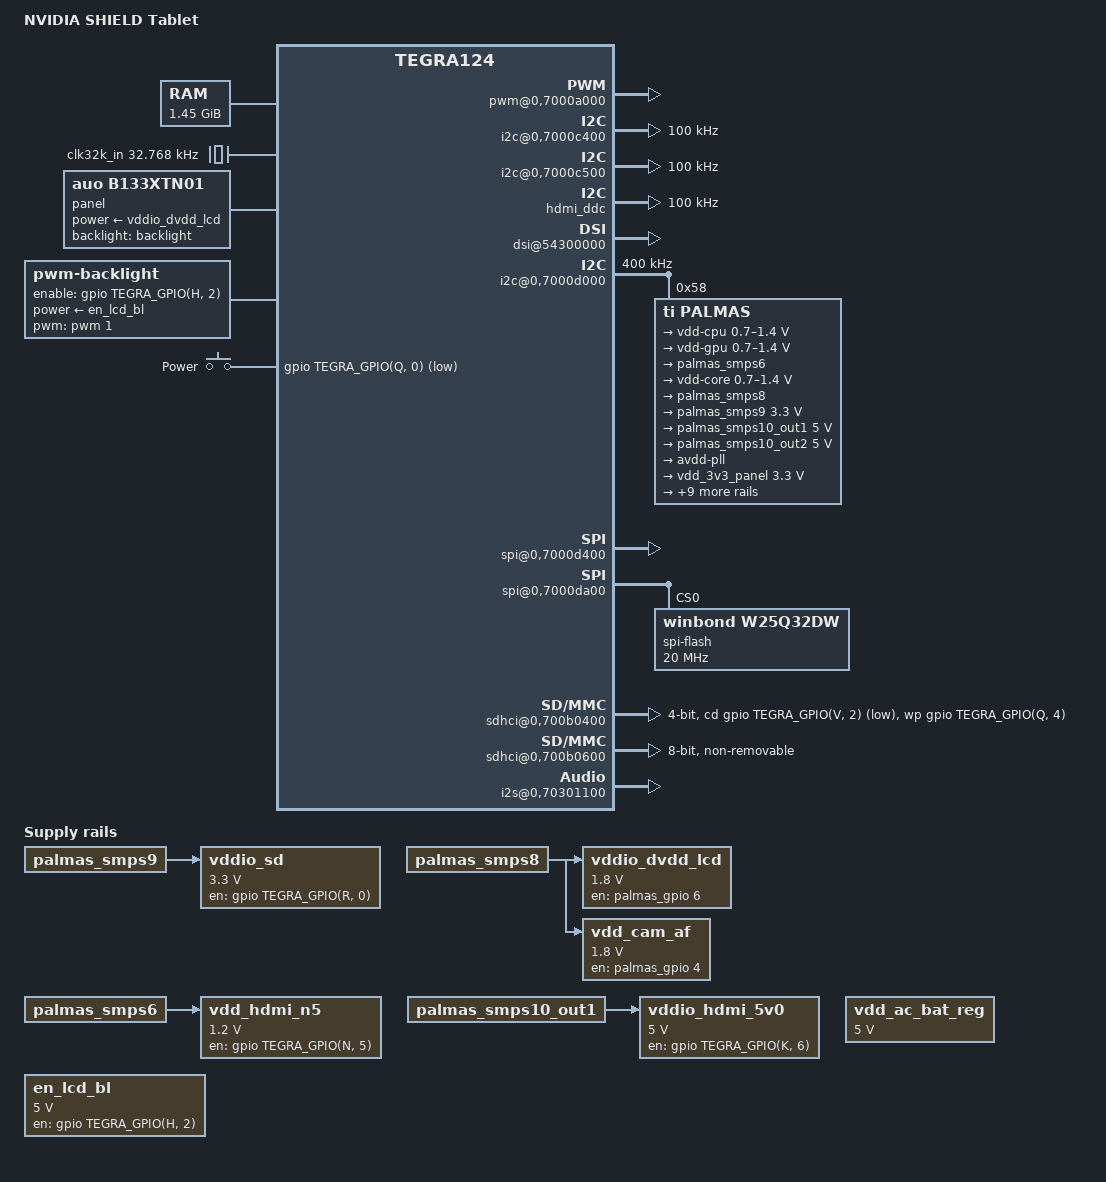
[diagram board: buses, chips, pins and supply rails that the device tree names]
/dts-v1/;

#include <dt-bindings/input/input.h>
#include "tegra124.dtsi"

/ {
	model = "NVIDIA SHIELD Tablet";
	compatible = "nvidia,st8", "nvidia,tegra124";

	aliases {
		rtc0 = "/i2c@0,7000d000/pmic@58";
		rtc1 = "/rtc@0,7000e000";
	};

	chosen {
		bootargs = "console=tty1 gpt fbcon=rotate:2 earlyprintk clk_ignore_unused";
		linux,initrd-start = <0x81680000>;
		linux,initrd-end = <0x82800000>;
	};

	memory {
		reg = <0x0 0x80000000 0x0 0x2d000000
		       0x0 0xae000000 0x0 0x30000000>;
	};

	clocks {
		compatible = "simple-bus";
		#address-cells = <1>;
		#size-cells = <0>;

		clk32k_in: clock@0 {
			compatible = "fixed-clock";
			reg = <0>;
			#clock-cells = <0>;
			clock-frequency = <32768>;
		};
	};

	framebuffer {
		compatible = "simple-framebuffer";
		reg = <0x0 0xad012000 0x0 (1216 * 1920 * 4)>;
		width = <1200>;
		height = <1920>;
		stride = <(1216 * 4)>;
		format = "a8b8g8r8";
	};

	pwm@0,7000a000 {
		status = "okay";
	};

	/* Expansion GEN2_I2C_* */
	i2c@0,7000c400 {
		status = "okay";
		clock-frequency = <100000>;
	};

	/* Expansion CAM_I2C_* */
	i2c@0,7000c500 {
		status = "okay";
		clock-frequency = <100000>;
	};

	/* HDMI DDC */
	hdmi_ddc: i2c@0,7000c700 {
		status = "okay";
		clock-frequency = <100000>;
	};

	host1x@0,50000000 {
		sor@0,54540000 {
			status = "okay";
			nvidia,panel = <&panel>;
		};

		dsi@54300000 {
			status = "okay";

			vdd-supply = <&vdd_1v2_ap>;

		};
	
	};

	panel: panel {
		compatible = "auo,b133xtn01";

		power-supply = <&vddio_dvdd_lcd>;
		backlight = <&backlight>;
	};

	backlight: backlight {
		compatible = "pwm-backlight";

		enable-gpios = <&gpio TEGRA_GPIO(H, 2) GPIO_ACTIVE_HIGH>;
		power-supply = <&en_lcd_bl>;
		pwms = <&pwm 1 1000000>;

		default-brightness-level = <224>;
		brightness-levels =
			<  0   1   2   3   4   5   6   7
			   8   9  10  11  12  13  14  15
			  16  17  18  19  20  21  22  23
			  24  25  26  27  28  29  30  31
			  32  33  34  35  36  37  38  39
			  40  41  42  43  44  45  46  47
			  48  49  50  51  52  53  54  55
			  56  57  58  59  60  61  62  63
			  64  65  66  67  68  69  70  71
			  72  73  74  75  76  77  78  79
			  80  81  82  83  84  85  86  87
			  88  89  90  91  92  93  94  95
			  96  97  98  99 100 101 102 103
			 104 105 106 107 108 109 110 111
			 112 113 114 115 116 117 118 119
			 120 121 122 123 124 125 126 127
			 128 129 130 131 132 133 134 135
			 136 137 138 139 140 141 142 143
			 144 145 146 147 148 149 150 151
			 152 153 154 155 156 157 158 159
			 160 161 162 163 164 165 166 167
			 168 169 170 171 172 173 174 175
			 176 177 178 179 180 181 182 183
			 184 185 186 187 188 189 190 191
			 192 193 194 195 196 197 198 199
			 200 201 202 203 204 205 206 207
			 208 209 210 211 212 213 214 215
			 216 217 218 219 220 221 222 223
			 224 225 226 227 228 229 230 231
			 232 233 234 235 236 237 238 239
			 240 241 242 243 244 245 246 247
			 248 249 250 251 252 253 254 255
			 256>;
	};


	i2c@0,7000d000 {
		status = "okay";
		clock-frequency = <400000>;
		palmas: pmic@58 {
			compatible = "ti,palmas";
			reg = <0x58>;
			interrupts = <GIC_SPI 86 IRQ_TYPE_LEVEL_LOW>;

			#interrupt-cells = <2>;
			interrupt-controller;

			ti,system-power-controller;

			palmas_gpio: gpio {
				compatible = "ti,palmas-gpio";
				gpio-controller;
				#gpio-cells = <2>;
			};

			rtc {
				compatible = "ti,palmas-rtc";
				interrupt-parent = <&palmas>;
				interrupts = <8 0>;
			};

			pinmux {
				compatible = "ti,tps65913-pinctrl";
				pinctrl-names = "default";
				pinctrl-0 = <&palmas_default>;

				palmas_default: pinmux {
					powergood {
						pins = "powergood";
						function = "powergood";
					};

					vac {
						pins = "vac";
						function = "vac";
					};

					pin_gpio0 {
						pins = "gpio0";
						function = "id";
						bias-pull-up;
					};

					pin_gpio1 {
						pins = "gpio1";
						function = "gpio";
						bias-disable;
					};

					pin_gpio6 {
						pins = "gpio2", "gpio3", "gpio4", "gpio6", "gpio7";
						function = "gpio";
					};

					pin_gpio5 {
						pins = "gpio5";
						function = "clk32kgaudio";
					};
				};
			};

			power_pm {
				compatible = "ti,palmas-pm";
				system-pmic-power-off;
			};
/*
			palmas_ldousb_in {
				compatible = "ti,palmas-ldousb-in";
				ti,ldousb-in-threshold-voltage = <3500000>;
				ti,threshold-voltage-tolerance = <100000>;
				ti,enable-in1-above-threshold;
				ldousb-in1-supply = <&vdd_ac_bat_reg>;
				ldousb-in2-supply = <&palmas_smps10_out2>;
			};
*/

			clock {
				compatible = "ti,palmas-clk";

				clk32k_kg {
					ti,clock-boot-enable;
				};

				clk32k_kg_audio {
					ti,clock-boot-enable;
				};
			};

			pmic {
				compatible = "ti,tps65913-pmic", "ti,palmas-pmic";
				ldo1-in-supply = <&palmas_smps6>;
				ldo5-in-supply = <&palmas_smps8>;
				ldo9-in-supply = <&palmas_smps9>;
				ldoln-in-supply = <&palmas_smps10_out2>;
				ldousb-in-supply = <&palmas_smps10_out2>;

				regulators {
					smps123 {
						regulator-name = "vdd-cpu";
						regulator-min-microvolt = <700000>;
						regulator-max-microvolt = <1400000>;
						regulator-always-on;
						regulator-boot-on;
						ti,roof-floor = <1>;
						ti,config-flags = <8>;
					};

					smps45 {
						regulator-name = "vdd-gpu";
						regulator-min-microvolt = <700000>;
						regulator-max-microvolt = <1400000>;
						regulator-init-microvolt = <1000000>;
						regulator-boot-on;
					};

					palmas_smps6: smps6 {
						regulator-name = "vddio-ddr";
						regulator-always-on;
						regulator-boot-on;
					};

					smps7 {
						regulator-name = "vdd-core";
						regulator-min-microvolt = <700000>;
						regulator-max-microvolt = <1400000>;
						regulator-always-on;
						regulator-boot-on;
						ti,roof-floor = <3>;
					};

					palmas_smps8: smps8 {
						regulator-name = "vdd-1v8";
						regulator-always-on;
						regulator-boot-on;
					};

					palmas_smps9: smps9 {
						regulator-name = "vdd-snsr";
						regulator-min-microvolt = <3300000>;
						regulator-max-microvolt = <3300000>;
						regulator-always-on;
						regulator-boot-on;
					};

					palmas_smps10_out1: smps10_out1 {
						regulator-name = "vdd-out1-5v0";
						regulator-min-microvolt = <5000000>;
						regulator-max-microvolt = <5000000>;
					};

					palmas_smps10_out2: smps10_out2 {
						regulator-name = "vdd-out2-5v0";
						regulator-min-microvolt = <5000000>;
						regulator-max-microvolt = <5000000>;
					};

					ldo1 {
						regulator-name = "avdd-pll";
						regulator-always-on;
						regulator-boot-on;
						ti,roof-floor = <3>;
					};

					vdd_3v3_panel: ldo2 {
						regulator-name = "vdd-3v3-panel";
						regulator-min-microvolt = <3300000>;
						regulator-max-microvolt = <3300000>;
					};

					ldo3_reg: ldo3 {
						regulator-name = "vdd-touch";
						regulator-min-microvolt = <3300000>;
						regulator-max-microvolt = <3300000>;
						regulator-enable-ramp-delay = <3000>;
						ti,disable-pull-down;
					};

					ldo4 {
						regulator-name = "avdd-cam1";
						regulator-min-microvolt = <2700000>;
						regulator-max-microvolt = <2700000>;
					};

					ldo5_reg: ldo5 {
						regulator-name = "avdd-dsi-csi";
					};

					vpp_fuse: ldo6 {
						regulator-name = "vpp-fuse";
						regulator-min-microvolt = <1800000>;
						regulator-max-microvolt = <1800000>;
					};

					ldo7 {
						regulator-name = "avdd-cam-af";
						regulator-min-microvolt = <2700000>;
						regulator-max-microvolt = <2700000>;
					};

					ldo8 {
						regulator-name = "vdd-rtc";
						regulator-min-microvolt = <950000>;
						regulator-max-microvolt = <950000>;
						regulator-always-on;
						regulator-boot-on;
					};

					ldo9 {
						regulator-name = "vddio-sdmmc-2";
						regulator-min-microvolt = <1800000>;
						regulator-max-microvolt = <3300000>;
					};

					ldoln {
						regulator-name = "vddio-hv";
						regulator-always-on;
						regulator-boot-on;
					};

					ldousb_reg: ldousb {
						regulator-name = "avdd-usb";
						regulator-always-on;
						regulator-boot-on;
					};
				};
			};
		};
	};

	/* Expansion TS_SPI_* */
	spi@0,7000d400 {
		status = "okay";
	};

	/* Internal SPI */
	spi@0,7000da00 {
		status = "okay";
		spi-max-frequency = <25000000>;
		spi-flash@0 {
			compatible = "winbond,w25q32dw";
			reg = <0>;
			spi-max-frequency = <20000000>;
		};
	};

	pmc@0,7000e400 {
		nvidia,invert-interrupt;
		nvidia,suspend-mode = <1>;
		nvidia,cpu-pwr-good-time = <500>;
		nvidia,cpu-pwr-off-time = <300>;
		nvidia,core-pwr-good-time = <641 3845>;
		nvidia,core-pwr-off-time = <61036>;
		nvidia,core-power-req-active-high;
		nvidia,sys-clock-req-active-high;
	};


	/* SD card */
	sdhci@0,700b0400 {
		status = "okay";
		cd-gpios = <&gpio TEGRA_GPIO(V, 2) GPIO_ACTIVE_LOW>;
		power-gpios = <&gpio TEGRA_GPIO(R, 0) GPIO_ACTIVE_HIGH>;
		wp-gpios = <&gpio TEGRA_GPIO(Q, 4) GPIO_ACTIVE_HIGH>;
		bus-width = <4>;
	//	vqmmc-supply = <&palmas_smps8>;
	};
	/* eMMC */
	sdhci@0,700b0600 {
		status = "okay";
		bus-width = <8>;
		non-removable;
	};

	ahub@0,70300000 {
		i2s@0,70301100 {
			status = "okay";
		};
	};

/* probably best not enable this without pmic and extcon...
	usb@0,7d000000 {
		status = "okay";
	};

	phy1: usb-phy@0,7d000000 {
		status = "okay";
	};
*/

	gpio-keys {
		compatible = "gpio-keys";

		power {
			label = "Power";
			gpios = <&gpio TEGRA_GPIO(Q, 0) GPIO_ACTIVE_LOW>;
			linux,code = <KEY_POWER>;
			debounce-interval = <10>;
			gpio-key,wakeup;
		};
	};

	regulators {
		compatible = "simple-bus";
		#address-cells = <1>;
		#size-cells = <0>;

		vdd_ac_bat_reg: regulator@0 {
			compatible = "regulator-fixed";
			reg = <0>;
			regulator-name = "vdd_ac_bat";
			regulator-min-microvolt = <5000000>;
			regulator-max-microvolt = <5000000>;
			regulator-always-on;
		};

		en_lcd_bl: regulator@1 {
			compatible = "regulator-fixed-sync";
			reg = <1>;
			regulator-name = "en-lcd-bl";
			regulator-min-microvolt = <5000000>;
			regulator-max-microvolt = <5000000>;
			enable-active-high;
			gpio = <&gpio TEGRA_GPIO(H, 2) 0>;
			regulator-boot-on;
		};

		vddio_sd: regulator@2 {
			compatible = "regulator-fixed-sync";
			reg = <2>;
			regulator-name = "vddio_sd";
			regulator-min-microvolt = <3300000>;
			regulator-max-microvolt = <3300000>;
			gpio = <&gpio TEGRA_GPIO(R, 0) GPIO_ACTIVE_HIGH>;
			enable-active-high;
			vin-supply = <&palmas_smps9>;
		};

		vddio_dvdd_lcd: regulator@3 {
			compatible = "regulator-fixed-sync";
			reg = <3>;
			regulator-name = "vddio_dvdd_lcd";
			regulator-min-microvolt = <1800000>;
			regulator-max-microvolt = <1800000>;
			gpio = <&palmas_gpio 6 0>;
			enable-active-high;
			regulator-boot-on;
			vin-supply = <&palmas_smps8>;
		};

		vdd_cam_af: regulator@4 {
			compatible = "regulator-fixed-sync";
			reg = <4>;
			regulator-name = "vdd_cam_af";
			regulator-min-microvolt = <1800000>;
			regulator-max-microvolt = <1800000>;
			gpio = <&palmas_gpio 4 0>;
			enable-active-high;
			vin-supply = <&palmas_smps8>;
		};

		vdd_hdmi_n5: regulator@5 {
			compatible = "regulator-fixed-sync";
			reg = <5>;
			regulator-name = "vdd-hdmi-n5";
			regulator-min-microvolt = <1200000>;
			regulator-max-microvolt = <1200000>;
			enable-active-high;
			gpio = <&gpio TEGRA_GPIO(N, 5) 0>;
			vin-supply = <&palmas_smps6>;
		};

		vddio_hdmi_5v0: regulator@6 {
			compatible = "regulator-fixed-sync";
			reg = <6>;
			regulator-name = "vddio_hdmi_5v0";
			regulator-min-microvolt = <5000000>;
			regulator-max-microvolt = <5000000>;
			gpio = <&gpio TEGRA_GPIO(K, 6) 0>;
			enable-active-high;
			vin-supply = <&palmas_smps10_out1>;
		};

		regulator@8  {
			vin-supply = <&ldo3_reg>;
			regulator-disable-parent-after-enable;
		};
	};
};
